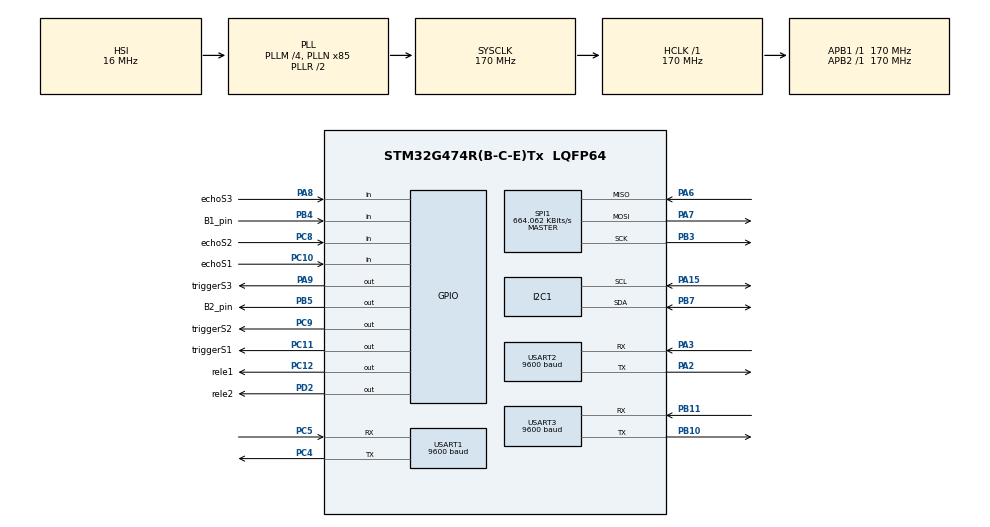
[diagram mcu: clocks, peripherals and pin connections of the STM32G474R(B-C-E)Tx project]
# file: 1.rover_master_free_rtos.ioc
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ADC1.Channel-0\#ChannelRegularConversion=ADC_CHANNEL_VREFINT
ADC1.NbrOfConversionFlag=1
ADC1.OffsetNumber-0\#ChannelRegularConversion=ADC_OFFSET_NONE
ADC1.Rank-0\#ChannelRegularConversion=1
ADC1.SamplingTime-0\#ChannelRegularConversion=ADC_SAMPLETIME_2CYCLES_5
ADC1.master=1
FREERTOS.Tasks01=lettura,8,128,letturaTask,Default,NULL,Dynamic,NULL,NULL;comunicazione,8,128,comunicazioneTask,Default,NULL,Dynamic,NULL,NULL;degradato,8,128,degradatoTask,Default,NULL,Dynamic,NULL,NULL;emergenza,8,128,emergenzaTask,Default,NULL,Dynamic,NULL,NULL
FREERTOS.configUSE_NEWLIB_REENTRANT=1
FREERTOS.configUSE_PREEMPTION=0
I2C1.Timing=0x40B285C2
Mcu.Family=STM32G4
Mcu.Name=STM32G474R(B-C-E)Tx
Mcu.Package=LQFP64
NUCLEO-G474RE.BUTTON=1
NUCLEO-G474RE.LD2=true
NUCLEO-G474RE.VCP=true
NVIC.PriorityGroup=NVIC_PRIORITYGROUP_4
NVIC.TIM6_DAC_IRQn=true\:15\:0\:false\:false\:true\:false\:false\:true\:true
NVIC.TimeBase=TIM6_DAC_IRQn
NVIC.TimeBaseIP=TIM6
PA13.Mode=Serial_Wire
PA13.Signal=SYS_JTMS-SWDIO
PA14.Mode=Serial_Wire
PA14.Signal=SYS_JTCK-SWCLK
PA15.GPIO_Speed=GPIO_SPEED_FREQ_VERY_HIGH
PA15.Mode=I2C
PA15.Signal=I2C1_SCL
PA2.Mode=Asynchronous
PA2.Signal=USART2_TX
PA3.Mode=Asynchronous
PA3.Signal=USART2_RX
PA6.Mode=Full_Duplex_Master
PA6.Signal=SPI1_MISO
PA7.Mode=Full_Duplex_Master
PA7.Signal=SPI1_MOSI
PA8.GPIO_Label=echoS3
PA8.Signal=GPIO_Input
PA9.GPIO_Label=triggerS3
PA9.Signal=GPIO_Output
PB10.Mode=Asynchronous
PB10.Signal=USART3_TX
PB11.Mode=Asynchronous
PB11.Signal=USART3_RX
PB3.Mode=Full_Duplex_Master
PB3.Signal=SPI1_SCK
PB4.GPIO_Label=B1_pin
PB4.Signal=GPIO_Input
PB5.GPIO_Label=B2_pin
PB5.Signal=GPIO_Output
PB7.GPIO_Speed=GPIO_SPEED_FREQ_VERY_HIGH
PB7.Mode=I2C
PB7.Signal=I2C1_SDA
PC10.GPIO_Label=echoS1
PC10.Signal=GPIO_Input
PC11.GPIO_Label=triggerS1
PC11.Signal=GPIO_Output
PC12.GPIO_Label=rele1
PC12.Signal=GPIO_Output
PC14-OSC32_IN.Mode=LSE-External-Oscillator
PC14-OSC32_IN.Signal=RCC_OSC32_IN
PC15-OSC32_OUT.Mode=LSE-External-Oscillator
PC15-OSC32_OUT.Signal=RCC_OSC32_OUT
PC4.Mode=Asynchronous
PC4.Signal=USART1_TX
PC5.Mode=Asynchronous
PC5.Signal=USART1_RX
PC8.GPIO_Label=echoS2
PC8.Signal=GPIO_Input
PC9.GPIO_Label=triggerS2
PC9.Signal=GPIO_Output
PD2.GPIO_Label=rele2
PD2.Signal=GPIO_Output
PF0-OSC_IN.Mode=HSE-External-Clock-Source
PF0-OSC_IN.Signal=RCC_OSC_IN
ProjectManager.HeapSize=0x200
ProjectManager.StackSize=0x400
ProjectManager.TargetToolchain=STM32CubeIDE
RCC.ADC12Freq_Value=170000000
RCC.ADC345Freq_Value=170000000
RCC.AHBFreq_Value=170000000
RCC.APB1Freq_Value=170000000
RCC.APB1TimFreq_Value=170000000
RCC.APB2Freq_Value=170000000
RCC.APB2TimFreq_Value=170000000
RCC.CortexFreq_Value=170000000
RCC.EXTERNAL_CLOCK_VALUE=12288000
RCC.HCLKFreq_Value=170000000
RCC.HSE_VALUE=24000000
RCC.HSI48_VALUE=48000000
RCC.HSI_VALUE=16000000
RCC.PLLM=RCC_PLLM_DIV4
RCC.PLLN=85
RCC.RTCClockSelection=RCC_RTCCLKSOURCE_LSE
RCC.SYSCLKFreq_VALUE=170000000
RCC.SYSCLKSource=RCC_SYSCLKSOURCE_PLLCLK
RCC.USBFreq_Value=170000000
RCC.VCOOutputFreq_Value=340000000
SPI1.BaudRatePrescaler=SPI_BAUDRATEPRESCALER_256
SPI1.CalculateBaudRate=664.062 KBits/s
SPI1.DataSize=SPI_DATASIZE_8BIT
SPI1.Direction=SPI_DIRECTION_2LINES
SPI1.Mode=SPI_MODE_MASTER
SPI1.VirtualType=VM_MASTER
TIM1.Prescaler=169
TIM2.Prescaler=169
TIM7.Prescaler=169
USART1.BaudRate=9600
USART1.VirtualMode-Asynchronous=VM_ASYNC
USART2.BaudRate=9600
USART2.VirtualMode-Asynchronous=VM_ASYNC
USART3.BaudRate=9600
USART3.VirtualMode-Asynchronous=VM_ASYNC
VP_ADC1_TempSens_Input.Mode=IN-TempSens
VP_ADC1_Vref_Input.Mode=IN-Vrefint
VP_FREERTOS_VS_CMSIS_V2.Mode=CMSIS_V2
VP_SYS_VS_DBSignals.Mode=DisableDeadBatterySignals
VP_SYS_VS_tim6.Mode=TIM6
VP_TIM1_VS_ClockSourceINT.Mode=Internal
VP_TIM2_VS_ClockSourceINT.Mode=Internal
VP_TIM7_VS_ClockSourceINT.Mode=Enable_Timer
board=NUCLEO-G474RE

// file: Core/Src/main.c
/* USER CODE BEGIN Header */
/**
  ******************************************************************************
  * @file           : main.c
  * @brief          : Main program body
  ******************************************************************************
  * @attention
  *
  * Copyright (c) 2025 STMicroelectronics.
  * All rights reserved.
  *
  * This software is licensed under terms that can be found in the LICENSE file
  * in the root directory of this software component.
  * If no LICENSE file comes with this software, it is provided AS-IS.
  *
  ******************************************************************************
  */
/*
    Copyright (C) 2025  Giuseppe Squitieri

    This program is free software: you can redistribute it and/or modify
    it under the terms of the GNU General Public License as published by
    the Free Software Foundation, either version 3 of the License, or
    (at your option) any later version.

    This program is distributed in the hope that it will be useful,
    but WITHOUT ANY WARRANTY; without even the implied warranty of
    MERCHANTABILITY or FITNESS FOR A PARTICULAR PURPOSE.  See the
    GNU General Public License for more details.

    You should have received a copy of the GNU General Public License
    along with this program.  If not, see <https://www.gnu.org/licenses/>.

TRACCIA:
Progettare e implementare un rover in grado di eseguire i comandi ricevuti tramite un controller il rover può trovarsi in tre diversi stati operativi: OK quando il sistema funziona correttamente senza anomalie, DEGRADATO in caso di malfunzionamento parziale che riduce alcune funzionalità ma mantiene il rover operativo, EMERGENZA quando il rover entra in uno stato di sicurezza per prevenire danni limitando o sospendendo le operazioni.
*/

/* USER CODE END Header */
#include "main.h"
#include "cmsis_os.h"
#include "adc.h"
#include "i2c.h"
#include "spi.h"
#include "tim.h"
#include "usart.h"
#include "gpio.h"

void SystemClock_Config(void);
void MX_FREERTOS_Init(void);

int main(void)
{

  /* MCU Configuration--------------------------------------------------------*/

  /* Reset of all peripherals, Initializes the Flash interface and the Systick. */
  HAL_Init();

  /* Configure the system clock */
  SystemClock_Config();

  /* Initialize all configured peripherals */
  MX_GPIO_Init();
  MX_I2C1_Init();
  MX_SPI1_Init();
  MX_USART1_UART_Init();
  MX_USART3_UART_Init();
  MX_ADC1_Init();
  MX_TIM7_Init();
  MX_TIM1_Init();
  MX_TIM2_Init();
  MX_USART2_UART_Init();
  /* USER CODE BEGIN 2 */
  HAL_TIM_Base_Start(&htim1);
  HAL_TIM_Base_Start(&htim2);
  HAL_TIM_Base_Start(&htim7);
  /* USER CODE END 2 */

  /* Init scheduler */
  osKernelInitialize();

  /* Call init function for freertos objects (in cmsis_os2.c) */
  MX_FREERTOS_Init();

  /* Start scheduler */
  osKernelStart();

  /* We should never get here as control is now taken by the scheduler */

  /* Infinite loop */
  while (1)
  {

  }
}

void SystemClock_Config(void)
{
  RCC_OscInitTypeDef RCC_OscInitStruct = {0};
  RCC_ClkInitTypeDef RCC_ClkInitStruct = {0};

  /** Configure the main internal regulator output voltage
  */
  HAL_PWREx_ControlVoltageScaling(PWR_REGULATOR_VOLTAGE_SCALE1_BOOST);

  /** Initializes the RCC Oscillators according to the specified parameters
  * in the RCC_OscInitTypeDef structure.
  */
  RCC_OscInitStruct.OscillatorType = RCC_OSCILLATORTYPE_HSI;
  RCC_OscInitStruct.HSIState = RCC_HSI_ON;
  RCC_OscInitStruct.HSICalibrationValue = RCC_HSICALIBRATION_DEFAULT;
  RCC_OscInitStruct.PLL.PLLState = RCC_PLL_ON;
  RCC_OscInitStruct.PLL.PLLSource = RCC_PLLSOURCE_HSI;
  RCC_OscInitStruct.PLL.PLLM = RCC_PLLM_DIV4;
  RCC_OscInitStruct.PLL.PLLN = 85;
  RCC_OscInitStruct.PLL.PLLP = RCC_PLLP_DIV2;
  RCC_OscInitStruct.PLL.PLLQ = RCC_PLLQ_DIV2;
  RCC_OscInitStruct.PLL.PLLR = RCC_PLLR_DIV2;
  if (HAL_RCC_OscConfig(&RCC_OscInitStruct) != HAL_OK)
  {
    Error_Handler();
  }

  /** Initializes the CPU, AHB and APB buses clocks
  */
  RCC_ClkInitStruct.ClockType = RCC_CLOCKTYPE_HCLK|RCC_CLOCKTYPE_SYSCLK
                              |RCC_CLOCKTYPE_PCLK1|RCC_CLOCKTYPE_PCLK2;
  RCC_ClkInitStruct.SYSCLKSource = RCC_SYSCLKSOURCE_PLLCLK;
  RCC_ClkInitStruct.AHBCLKDivider = RCC_SYSCLK_DIV1;
  RCC_ClkInitStruct.APB1CLKDivider = RCC_HCLK_DIV1;
  RCC_ClkInitStruct.APB2CLKDivider = RCC_HCLK_DIV1;

  if (HAL_RCC_ClockConfig(&RCC_ClkInitStruct, FLASH_LATENCY_4) != HAL_OK)
  {
    Error_Handler();
  }
}

void HAL_TIM_PeriodElapsedCallback(TIM_HandleTypeDef *htim)
{
  if (htim->Instance == TIM6) {
    HAL_IncTick();
  }
}

void Error_Handler(void)
{
  __disable_irq();
  while (1)
  {
  }
}

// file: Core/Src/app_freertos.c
/* USER CODE BEGIN Header */
/**
  ******************************************************************************
  * File Name          : app_freertos.c
  * Description        : Code for freertos applications
  ******************************************************************************
  * @attention
  *
  * Copyright (c) 2025 STMicroelectronics.
  * All rights reserved.
  *
  * This software is licensed under terms that can be found in the LICENSE file
  * in the root directory of this software component.
  * If no LICENSE file comes with this software, it is provided AS-IS.
  *
  ******************************************************************************
  */
/*
    Copyright (C) 2025

    This program is free software: you can redistribute it and/or modify
    it under the terms of the GNU General Public License as published by
    the Free Software Foundation, either version 3 of the License, or
    (at your option) any later version.

    This program is distributed in the hope that it will be useful,
    but WITHOUT ANY WARRANTY; without even the implied warranty of
    MERCHANTABILITY or FITNESS FOR A PARTICULAR PURPOSE.  See the
    GNU General Public License for more details.

    You should have received a copy of the GNU General Public License
    along with this program.  If not, see <https://www.gnu.org/licenses/>.

TRACCIA:
Progettare e implementare un rover in grado di eseguire i comandi ricevuti tramite un controller il rover può trovarsi in tre diversi stati operativi: OK quando il sistema funziona correttamente senza anomalie, DEGRADATO in caso di malfunzionamento parziale che riduce alcune funzionalità ma mantiene il rover operativo, EMERGENZA quando il rover entra in uno stato di sicurezza per prevenire danni limitando o sospendendo le operazioni.
*/
/* USER CODE END Header */

#include "FreeRTOS.h"
#include "task.h"
#include "main.h"
#include "cmsis_os.h"

/* USER CODE BEGIN Includes */
#include "com_master.h"
#include "controller.h"
#include "hcsr04.h"
#include "MPU-6050.h"
#include "temperature.h"
#include "spi.h"
#include "tim.h"

void dataCheck(uint16_t start_temp,HAL_StatusTypeDef statusController,partial_master_t* data_master);
void degraded(partial_master_t* global_data);
void emergency();

partial_master_t data_master;
global_t global_data;
char usart_buffer2[70];
HAL_StatusTypeDef status;

uint8_t buffer_recive[16];
uint8_t buffer_send[33];

uint32_t tick_iniziale;
uint32_t tick_finale;
uint8_t status_boards=-1;

uint8_t final_decision;

UltrasonicSensor sensor1, sensor2, sensor3;

char u[50];
uint16_t start_temp=0;
HAL_StatusTypeDef statusController;

/* USER CODE END Includes */

/* Definitions for lettura */
osThreadId_t letturaHandle;
const osThreadAttr_t lettura_attributes = {
  .name = "lettura",
  .priority = (osPriority_t) osPriorityLow,
  .stack_size = 128 * 4
};
/* Definitions for comunicazione */
osThreadId_t comunicazioneHandle;
const osThreadAttr_t comunicazione_attributes = {
  .name = "comunicazione",
  .priority = (osPriority_t) osPriorityLow,
  .stack_size = 128 * 4
};
/* Definitions for degradato */
osThreadId_t degradatoHandle;
const osThreadAttr_t degradato_attributes = {
  .name = "degradato",
  .priority = (osPriority_t) osPriorityLow,
  .stack_size = 128 * 4
};
/* Definitions for emergenza */
osThreadId_t emergenzaHandle;
const osThreadAttr_t emergenza_attributes = {
  .name = "emergenza",
  .priority = (osPriority_t) osPriorityLow,
  .stack_size = 128 * 4
};

void letturaTask(void *argument);
void comunicazioneTask(void *argument);
void degradatoTask(void *argument);
void emergenzaTask(void *argument);

void MX_FREERTOS_Init(void); /* (MISRA C 2004 rule 8.1) */

void MX_FREERTOS_Init(void) {
  /* USER CODE BEGIN Init */
	Ultrasonic_Init(&sensor1, triggerS1_GPIO_Port, triggerS1_Pin, echoS1_GPIO_Port, echoS1_Pin, &htim1);
	Ultrasonic_Init(&sensor2, triggerS2_GPIO_Port, triggerS2_Pin, echoS2_GPIO_Port, echoS2_Pin, &htim2);
	Ultrasonic_Init(&sensor3, triggerS3_GPIO_Port, triggerS3_Pin, echoS3_GPIO_Port, echoS3_Pin,&htim7);
  /* USER CODE END Init */

  /* Create the thread(s) */
  /* creation of lettura */
  letturaHandle = osThreadNew(letturaTask, NULL, &lettura_attributes);

  /* creation of comunicazione */
  comunicazioneHandle = osThreadNew(comunicazioneTask, NULL, &comunicazione_attributes);

  /* creation of degradato */
  degradatoHandle = osThreadNew(degradatoTask, NULL, &degradato_attributes);

  /* creation of emergenza */
  emergenzaHandle = osThreadNew(emergenzaTask, NULL, &emergenza_attributes);

}

void letturaTask(void *argument)
{
  /* USER CODE BEGIN letturaTask */
  /* Infinite loop */
  for(;;)
  {
	    //LETTURA
		if(data_master.temperatura2>90 || data_master.temperatura2==-1){start_temp++;}
		else{start_temp=0;}

		data_master.sonar1=(uint16_t)Ultrasonic_GetDistance(&sensor1);
		data_master.sonar2=(uint16_t)Ultrasonic_GetDistance(&sensor2);
		data_master.sonar3=(uint16_t)Ultrasonic_GetDistance(&sensor3);

		statusController=HAL_I2C_Master_Receive(&hi2c1, 0x55 << 1, (uint8_t *)&data_master.controller, sizeof(controller_t), 2000);

		dataCheck(start_temp, statusController, &data_master);

    osDelay(1);
  }
  /* USER CODE END letturaTask */
}

void comunicazioneTask(void *argument)
{
  /* USER CODE BEGIN comunicazioneTask */
  /* Infinite loop */
  for(;;)
  {

		//reset variabili di stato e decisione
		status_boards=3;
		data_master.B2_decision=4;
		final_decision = 3;

		//Invio dati allo slave
		serialize_partial(&data_master, buffer_send);

		HAL_GPIO_WritePin(GPIOB, B2_pin_Pin, GPIO_PIN_SET);

		tick_iniziale=osKernelGetTickCount();

		while (HAL_GPIO_ReadPin(GPIOB, B1_pin_Pin) == GPIO_PIN_RESET){
			if(osKernelGetTickCount()-tick_iniziale > 10){
				status_boards=0;
			    goto fine;
			}
		}

		HAL_SPI_Transmit(&hspi1, (uint8_t*)buffer_send, sizeof(buffer_send), HAL_MAX_DELAY);

		HAL_GPIO_WritePin(GPIOB, B2_pin_Pin, GPIO_PIN_RESET);

		//RICEZIONE DALLO SLAVE
		tick_iniziale=osKernelGetTickCount();

		while (HAL_GPIO_ReadPin(GPIOB, B1_pin_Pin) == GPIO_PIN_RESET){
			if(osKernelGetTickCount()-tick_iniziale > 10){
				status_boards=0;
			    goto fine;
			}
		}

		HAL_GPIO_WritePin(GPIOB, B2_pin_Pin, GPIO_PIN_SET);

		HAL_SPI_Receive(&hspi1, buffer_recive, sizeof(buffer_recive), HAL_MAX_DELAY);

		HAL_GPIO_WritePin(GPIOB, B2_pin_Pin, GPIO_PIN_RESET);

		deserialize_partial(&global_data,&data_master,buffer_recive);

		//decisiono 0 emergenza sullo slave
		//decisione 1 attuazione sulo slave
		//decisione 2 degradato sul master
		//decisione 3 emergenza sul master

		if(global_data.B2_state==0 && global_data.B1_state==1){
			data_master.B2_decision = 0;
		}
		else if(global_data.B2_state==1 && global_data.B1_state==1){
			data_master.B2_decision = 1;
		}
		else if(global_data.B2_state==1 && global_data.B1_state==0){
			status_boards=1;
			data_master.B2_decision = 2;
		}
		else if(global_data.B2_state==0 && global_data.B1_state==0){
			status_boards=0;
			data_master.B2_decision=3;
		}

		//final decision 1 decisioni b1 e b2 uguali
		//final decision 0 decisioni b1 e b2 diverse
		if(data_master.B2_decision==global_data.B1_decision){
			final_decision=1;
		}
		else{
			final_decision=0;
			if(data_master.B2_state==0){
				status_boards=0;
			}
			else{
				status_boards=1;
			}
		}

		//SCAMBIO DECISIONE
		HAL_GPIO_WritePin(GPIOB, B2_pin_Pin, GPIO_PIN_SET);

		tick_iniziale=osKernelGetTickCount();
		while (HAL_GPIO_ReadPin(GPIOB, B1_pin_Pin) == GPIO_PIN_RESET){
			if(osKernelGetTickCount()-tick_iniziale > 10 ){
				status_boards=0;
			    goto fine;
			}
		}

		HAL_SPI_Transmit(&hspi1,&final_decision, sizeof(final_decision), HAL_MAX_DELAY);

		HAL_GPIO_WritePin(GPIOB, B2_pin_Pin, GPIO_PIN_RESET);

		fine:
		if(final_decision==1){
			if(data_master.B2_decision==2 || data_master.B2_decision==3){
				HAL_GPIO_WritePin(rele1_GPIO_Port, rele1_Pin, GPIO_PIN_SET);
				HAL_GPIO_WritePin(rele2_GPIO_Port, rele2_Pin, GPIO_PIN_SET);
			}else{
				HAL_GPIO_WritePin(rele1_GPIO_Port, rele1_Pin, GPIO_PIN_RESET);
				HAL_GPIO_WritePin(rele2_GPIO_Port, rele2_Pin, GPIO_PIN_RESET);
			}
		}
		else{
			if(data_master.B2_state == 1){
				status_boards = 1;
			}else{
				status_boards = 0;
			}
			HAL_GPIO_WritePin(rele1_GPIO_Port, rele1_Pin, GPIO_PIN_SET);
			HAL_GPIO_WritePin(rele2_GPIO_Port, rele2_Pin, GPIO_PIN_SET);
		}

    osDelay(1);
  }
  /* USER CODE END comunicazioneTask */
}

void degradatoTask(void *argument)
{
  /* USER CODE BEGIN degradatoTask */
  /* Infinite loop */
  for(;;)
  {

	if(status_boards==1){
		degraded(&data_master);

	}

    osDelay(1);
  }
  /* USER CODE END degradatoTask */
}

void emergenzaTask(void *argument)
{
  /* USER CODE BEGIN emergenzaTask */
  /* Infinite loop */
  for(;;)
  {

	if(status_boards==0){
		emergency();
	}

    osDelay(1);
  }
  /* USER CODE END emergenzaTask */
}

/* USER CODE BEGIN Application */
/**
 * @brief Verifica la validità dei dati di input e aggiorna lo stato di B2.
 *
 * Questa funzione controlla se i dati forniti sono validi in base a diversi criteri:
 * - `start_temp` non deve superare il valore di 200.
 * - `statusController` deve essere uguale a `HAL_OK`.
 * - I valori `ax`, `ay`, `bx` e `by` del controller non devono essere tutti zero.
 * - I valori `ax`, `ay`, `bx` e `by` devono rientrare nell'intervallo valido [0, 511].
 *
 * Se uno qualsiasi di questi controlli fallisce, il campo `B2_state` di `data_master` viene impostato a 0,
 * altrimenti viene impostato a 1.
 *
 * @param start_temp Valore iniziale della temperatura.
 * @param statusController Stato restituito dal controller, deve essere `HAL_OK`.
 * @param data_master Puntatore alla struttura `partial_master_t` contenente i dati da verificare.
 */
void dataCheck(uint16_t start_temp,HAL_StatusTypeDef statusController,partial_master_t* data_master){

	  if(start_temp>200 ||
			  statusController!=HAL_OK ||
			  (are_values_zero(data_master->controller.ax, data_master->controller.ay, data_master->controller.bx, data_master->controller.by) ||
			  is_invalid_value(data_master->controller.ax, 0, 511) ||
			  is_invalid_value(data_master->controller.ay, 0, 511) ||
			  is_invalid_value(data_master->controller.bx, 0, 511) ||
			  is_invalid_value(data_master->controller.by, 0, 511)))
	  {
		  data_master->B2_state=0;
	  }else{
		  data_master->B2_state=1;
	 }
}

void degraded(partial_master_t* global_data){
	wheel_speeds_t speeds;
	uint8_t INpower2=0;
	uint8_t INpower4=0;

	if(global_data->controller.ay > PAD1_y_value_min_su && global_data->controller.ay <= PAD1_y_value_max_su){
		if(global_data->sonar2>70){
			speeds.left_speed=80;
			speeds.right_speed=80;
		}
		else{
			speeds.left_speed=64;
			speeds.right_speed=64;
		}
	}
	else if(global_data->controller.ay >= PAD1_y_value_min_giu && global_data->controller.ay < PAD1_y_value_max_giu){
		speeds.left_speed=80;
		speeds.right_speed=50;
	}
	else if(global_data->controller.ay >= PAD1_y_value_max_giu && global_data->controller.ay <= PAD1_y_value_min_su){

    	if (global_data->controller.bx >= 350 && global_data->controller.bx <= 511) { //fermo gira verso sinitra
        	speeds.left_speed=50;
        	speeds.right_speed=80;
        }
        else if(global_data->controller.bx >= 0 && global_data->controller.bx <= 150){ //fermo gira verso destra
        	speeds.left_speed=80;
          	speeds.right_speed=50;
        }
        else if(global_data->controller.bx>150 && global_data->controller.bx<350){//fermo sia nalogico pad1_y e fermo analogico pad2_x allora il rover sta fermo
        	speeds.left_speed=64;
        	speeds.right_speed=64;
        }
    }

	INpower2=speeds.left_speed+127;
	INpower4=speeds.left_speed+127;

	HAL_UART_Transmit(&huart1, &speeds.right_speed, 1,0);
	HAL_UART_Transmit(&huart1, &INpower2, 1,0);
	HAL_UART_Transmit(&huart3, &speeds.right_speed, 1,0);
	HAL_UART_Transmit(&huart3, &INpower4, 1,0);
}

void emergency(){
	uint8_t power=64;
	uint8_t power2=64+127;

	HAL_UART_Transmit(&huart1, &power, 1,0);
	HAL_UART_Transmit(&huart1, &power2, 1,0);
	HAL_UART_Transmit(&huart3, &power, 1,0);
	HAL_UART_Transmit(&huart3, &power2,1, 0);
}

/* USER CODE END Application */
